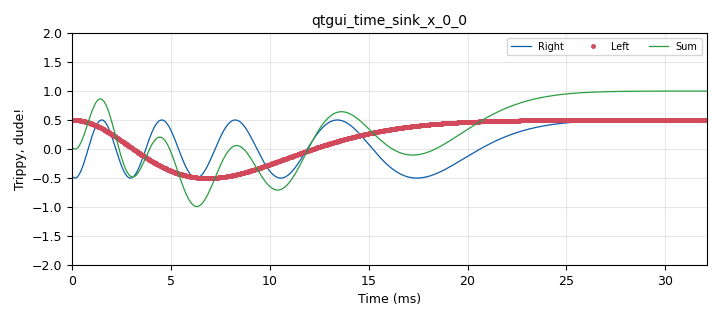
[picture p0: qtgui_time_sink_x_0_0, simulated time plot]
options:
  parameters:
    generate_options: qt_gui
    id: top_block
    output_language: python
  states: {}

blocks:
- name: samp_rate
  id: variable
  parameters:
    value: '32000'
  states: {}
- name: volume
  id: variable
  parameters:
    value: '0.5'
  states: {}
- name: analog_const_source_x_0
  id: analog_const_source_x
  parameters:
    const: volume
    type: float
  states: {}
- name: analog_sig_source_x_0
  id: analog_sig_source_x
  parameters:
    amp: '10'
    freq: '5'
    offset: '0'
    phase: '0'
    samp_rate: samp_rate
    type: float
    waveform: analog.GR_COS_WAVE
  states: {}
- name: analog_sig_source_x_0_0
  id: analog_sig_source_x
  parameters:
    amp: '10'
    freq: '3'
    offset: '0'
    phase: '0'
    samp_rate: samp_rate
    type: float
    waveform: analog.GR_COS_WAVE
  states: {}
- name: analog_sig_source_x_0_0_0
  id: analog_sig_source_x
  parameters:
    amp: '10'
    freq: '1'
    offset: '0'
    phase: '0'
    samp_rate: samp_rate
    type: float
    waveform: analog.GR_COS_WAVE
  states: {}
- name: audio_sink_0
  id: audio_sink
  parameters:
    num_inputs: '2'
    samp_rate: samp_rate
  states: {}
- name: blocks_add_xx_0
  id: blocks_add_xx
  parameters:
    type: float
  states: {}
- name: blocks_multiply_xx_0
  id: blocks_multiply_xx
  parameters:
    type: float
  states: {}
- name: blocks_multiply_xx_0_0
  id: blocks_multiply_xx
  parameters:
    type: float
  states: {}
- name: blocks_multiply_xx_0_0_0
  id: blocks_multiply_xx
  parameters:
    type: float
  states: {}
- name: blocks_multiply_xx_0_0_0_0
  id: blocks_multiply_xx
  parameters:
    type: float
  states: {}
- name: blocks_vco_f_0
  id: blocks_vco_f
  parameters:
    amplitude: '1'
    samp_rate: samp_rate
    sensitivity: '50'
  states: {}
- name: blocks_vco_f_0_0
  id: blocks_vco_f
  parameters:
    amplitude: '1'
    samp_rate: samp_rate
    sensitivity: '50'
  states: {}
- name: qtgui_time_sink_x_0_0
  id: qtgui_time_sink_x
  parameters:
    ctrlpanel: 'True'
    label1: Right
    label2: Left
    label3: Sum
    nconnections: '3'
    size: '1028'
    srate: samp_rate
    style2: '0'
    type: float
    update_time: '0.250'
    ylabel: '"Trippy, dude!"'
    ymax: '2'
    ymin: '-2'
    yunit: '"Amplitude"'
  states: {}

connections:
- [analog_const_source_x_0, '0', blocks_multiply_xx_0_0_0, '0']
- [analog_const_source_x_0, '0', blocks_multiply_xx_0_0_0_0, '0']
- [analog_sig_source_x_0, '0', blocks_multiply_xx_0_0, '0']
- [analog_sig_source_x_0_0, '0', blocks_multiply_xx_0, '0']
- [analog_sig_source_x_0_0, '0', blocks_multiply_xx_0_0, '1']
- [analog_sig_source_x_0_0_0, '0', blocks_multiply_xx_0, '1']
- [blocks_add_xx_0, '0', qtgui_time_sink_x_0_0, '2']
- [blocks_multiply_xx_0, '0', blocks_vco_f_0_0, '0']
- [blocks_multiply_xx_0_0, '0', blocks_vco_f_0, '0']
- [blocks_multiply_xx_0_0_0, '0', audio_sink_0, '1']
- [blocks_multiply_xx_0_0_0, '0', blocks_add_xx_0, '1']
- [blocks_multiply_xx_0_0_0, '0', qtgui_time_sink_x_0_0, '1']
- [blocks_multiply_xx_0_0_0_0, '0', audio_sink_0, '0']
- [blocks_multiply_xx_0_0_0_0, '0', blocks_add_xx_0, '0']
- [blocks_multiply_xx_0_0_0_0, '0', qtgui_time_sink_x_0_0, '0']
- [blocks_vco_f_0, '0', blocks_multiply_xx_0_0_0_0, '1']
- [blocks_vco_f_0_0, '0', blocks_multiply_xx_0_0_0, '1']

metadata:
  file_format: 1
